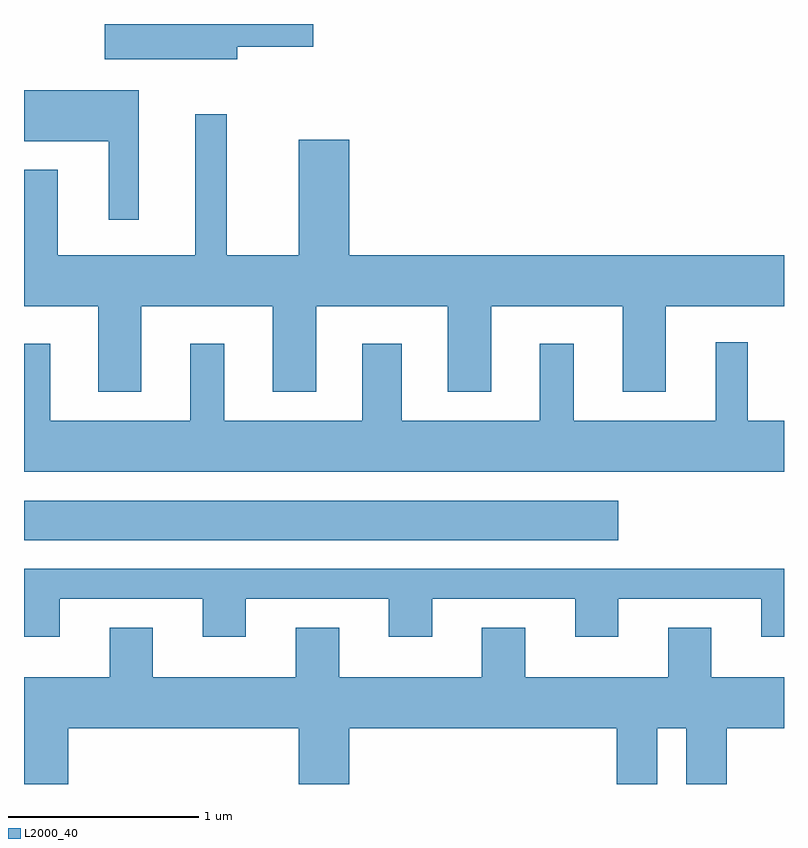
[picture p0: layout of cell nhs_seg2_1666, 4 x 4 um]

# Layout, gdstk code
import gdstk
lib = gdstk.Library(unit=1e-6, precision=1e-09)
def R(c, l, rs):  # rectangles x0, y0, x1, y1
    for r in rs: c.add(gdstk.rectangle(r[:2], r[2:], *l))
def P(c, l, *ps):  # polygons
    for p in ps: c.add(gdstk.Polygon(p, *l))
L2000_40 = (2000, 40)

nhs_seg2_1666 = lib.new_cell('nhs_seg2_1666')
R(nhs_seg2_1666, L2000_40, [(233.611,1047.086,236.739,1047.294)])
P(nhs_seg2_1666, L2000_40, [(234.734,1049.681),(235.134,1049.681),(235.134,1049.802),(234.036,1049.802),(234.036,1049.616),(234.734,1049.616)],
  [(234.214,1049.454),(233.611,1049.454),(233.611,1049.186),(234.056,1049.186),(234.056,1048.773),(234.214,1048.773)],
  [(234.229,1048.316),(234.921,1048.316),(234.921,1047.866),(235.149,1047.866),(235.149,1048.316),(235.841,1048.316),(235.841,1047.866),(236.069,1047.866),(236.069,1048.316),(236.761,1048.316),(236.761,1047.866),(236.989,1047.866),(236.989,1048.316),(237.611,1048.316),(237.611,1048.584),(235.324,1048.584),(235.324,1049.194),(235.056,1049.194),(235.056,1048.584),(234.679,1048.584),(234.679,1049.328),(234.511,1049.328),(234.511,1048.584),(233.789,1048.584),(233.789,1049.034),(233.611,1049.034),(233.611,1048.316),(234.001,1048.316),(234.001,1047.866),(234.229,1047.866)],
  [(237.611,1047.714),(237.419,1047.714),(237.419,1048.128),(237.251,1048.128),(237.251,1047.714),(236.504,1047.714),(236.504,1048.119),(236.326,1048.119),(236.326,1047.714),(235.599,1047.714),(235.599,1048.119),(235.391,1048.119),(235.391,1047.714),(234.664,1047.714),(234.664,1048.119),(234.486,1048.119),(234.486,1047.714),(233.749,1047.714),(233.749,1048.119),(233.611,1048.119),(233.611,1047.446),(237.611,1047.446)],
  [(233.799,1046.776),(234.551,1046.776),(234.551,1046.576),(234.779,1046.576),(234.779,1046.776),(235.531,1046.776),(235.531,1046.576),(235.759,1046.576),(235.759,1046.776),(236.511,1046.776),(236.511,1046.576),(236.739,1046.576),(236.739,1046.776),(237.491,1046.776),(237.491,1046.576),(237.611,1046.576),(237.611,1046.934),(233.611,1046.934),(233.611,1046.576),(233.799,1046.576)],
  [(236.249,1046.624),(236.021,1046.624),(236.021,1046.364),(235.269,1046.364),(235.269,1046.624),(235.041,1046.624),(235.041,1046.364),(234.289,1046.364),(234.289,1046.624),(234.061,1046.624),(234.061,1046.364),(233.611,1046.364),(233.611,1045.802),(233.844,1045.802),(233.844,1046.096),(235.056,1046.096),(235.056,1045.802),(235.324,1045.802),(235.324,1046.096),(236.731,1046.096),(236.731,1045.802),(236.944,1045.802),(236.944,1046.096),(237.096,1046.096),(237.096,1045.802),(237.309,1045.802),(237.309,1046.096),(237.611,1046.096),(237.611,1046.364),(237.229,1046.364),(237.229,1046.624),(237.001,1046.624),(237.001,1046.364),(236.249,1046.364)])

lib.write_gds('nhs_seg2_1666.gds')
